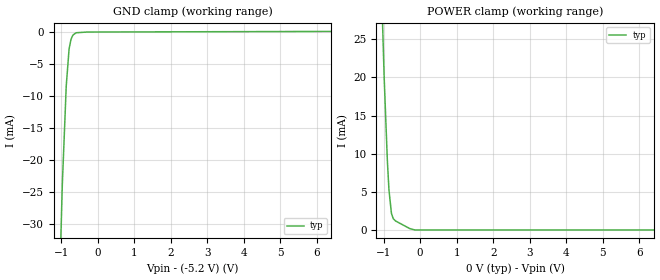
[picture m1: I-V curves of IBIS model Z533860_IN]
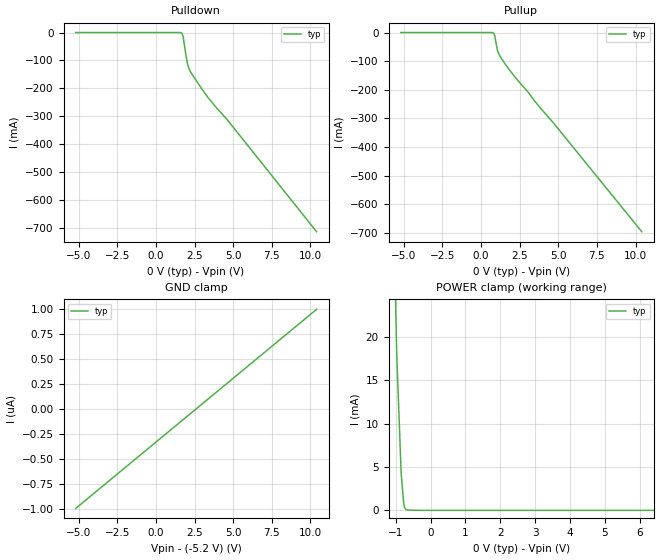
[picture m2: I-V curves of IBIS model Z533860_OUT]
| YOU ARE ONLY AUTHORIZED TO USE THIS SOFTWARE
| ACCORDING TO LICENSOR'S LICENSE RESTRICTIONS.
[IBIS Ver] 3.1
[File Name] mc100el05d_pecl.ibs
[File Rev] 2.0
[Source] Measured and created by ICX Technology
[Date] Friday 7/14/00 9:07:47 AM
[Copyright]
| (C) COPYRIGHT 1993-2000
| MENTOR GRAPHICS CORPORATION
| ICX STANDARD LIBRARY, ICX PROJECT MODELING,
| ICX CUSTOM MODELING, ICX VENDOR MODEL
| ALL RIGHTS RESERVED.
| THE FOLLOWING ARE TRADEMARKS OR SERVICE MARKS OF
| MENTOR GRAPHICS CORPORATION:ICX (R), ICX STANDARD
| LIBRARY(R), ICX PROJECT MODELING(R), ICX CUSTOM
| MODELING(R), qualityIBIS(TM), MODELVIEWER(TM),
| AND MODELEDITOR(TM)
| ALL COPIES OF SOFTWARE, INCLUDING BUT NOT LIMITED TO
| ANY MODIFICATIONS, ENHANCEMENTS OR DERIVATIVE WORKS,
| MUST CONTAIN ALL MENTOR GRAPHICS CORPORATION'S
| NOTICES AND LEGENDS, INCLUDING THOSE EMBEDDED IN
| SOFTWARE AND THOSE AFFIXED TO SOFTWARE MEDIUM
| AND CONTAINER, AS RECEIVED FROM MENTOR GRAPHICS
| CORPORATION.
|  ZAP Model Builder 2.7
[Component] MC100EL05D_PECL
[Manufacturer] OnSemiconductor
[Package]
| variable   typ   min   max
R_pkg  .152ohms NA NA
L_pkg  2.714nH NA NA
C_pkg  .364pF NA NA
[Pin] signal_name  model_name  R_pin  L_pin C_pin
1 DO Z533860_IN .154 2.924n .374p
2 _DO Z533860_IN .15 2.504n .354p
3 D1 Z533860_IN .15 2.504n .354p
4 _D1 Z533860_IN .154 2.924n .374p
5 VEE POWER .154 2.924n .374p
6 _Q Z533860_OUT .15 2.504n .354p
7 Q Z533860_OUT .15 2.504n .354p
8 VCC POWER .154 2.924n .374p
| Models and submodels in the file (2): Z533860_IN (Input_ECL), Z533860_OUT (Output_ECL)
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| (C) COPYRIGHT 1993-2000
| MENTOR GRAPHICS CORPORATION
| ICX STANDARD LIBRARY, ICX PROJECT MODELING,
| ICX CUSTOM MODELING, ICX VENDOR MODEL
| ALL RIGHTS RESERVED.
| THE FOLLOWING ARE TRADEMARKS OR SERVICE MARKS OF
| MENTOR GRAPHICS CORPORATION:ICX (R), ICX STANDARD
| LIBRARY(R), ICX PROJECT MODELING(R), ICX CUSTOM
| MODELING(R), qualityIBIS(TM), MODELVIEWER(TM),
| AND MODELEDITOR(TM)
| ALL COPIES OF SOFTWARE, INCLUDING BUT NOT LIMITED TO
| ANY MODIFICATIONS, ENHANCEMENTS OR DERIVATIVE WORKS,
| MUST CONTAIN ALL MENTOR GRAPHICS CORPORATION'S
| NOTICES AND LEGENDS, INCLUDING THOSE EMBEDDED IN
| SOFTWARE AND THOSE AFFIXED TO SOFTWARE MEDIUM
| AND CONTAINER, AS RECEIVED FROM MENTOR GRAPHICS
| CORPORATION.
| Model Application Version 1.89 2/18/99.
[Model] Z533860_IN
Model_type Input_ECL
Vinl = -1.475V
Vinh = -1.165V
C_comp 8.000pF NA NA
| variable typ   min   max
[Voltage Range] -5.200V NA NA
[GND Clamp Reference] -5.200V NA NA
[POWER Clamp Reference] 0.000V NA NA
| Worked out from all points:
|   GND clamp passes 1 mA (typ) near -0.72 V on its own axis
[GND Clamp]
-5.2V     -895.6mA   NA         NA
-967mV    -23.77mA   NA         NA
-860mV    -8.449mA   NA         NA
-782mV    -2.671mA   NA         NA
-733mV    -1.251mA   NA         NA
-699mV    -730.2uA   NA         NA
-664mV    -439.4uA   NA         NA
-587mV    -132.7uA   NA         NA
-293.5mV  -21.48uA   NA         NA
10.4V     131.2uA    NA         NA
[POWER Clamp]
-5.2V     1.571A     NA         NA
-1.157V   56.16mA    NA         NA
-1.069V   33.54mA    NA         NA
-985.6mV  20.06mA    NA         NA
-897.4mV  9.058mA    NA         NA
-853.7mV  5.242mA    NA         NA
-786.1mV  2.18mA     NA         NA
-734.7mV  1.47mA     NA         NA
-673.9mV  1.179mA    NA         NA
-285.6mV  185.9uA    NA         NA
-142.8mV  0A         NA         NA
10.4V     0A         NA         NA
| (C) COPYRIGHT 1993-2000
| MENTOR GRAPHICS CORPORATION
| ICX STANDARD LIBRARY, ICX PROJECT MODELING,
| ICX CUSTOM MODELING, ICX VENDOR MODEL
| ALL RIGHTS RESERVED.
| THE FOLLOWING ARE TRADEMARKS OR SERVICE MARKS OF
| MENTOR GRAPHICS CORPORATION:ICX (R), ICX STANDARD
| LIBRARY(R), ICX PROJECT MODELING(R), ICX CUSTOM
| MODELING(R), qualityIBIS(TM), MODELVIEWER(TM),
| AND MODELEDITOR(TM)
| ALL COPIES OF SOFTWARE, INCLUDING BUT NOT LIMITED TO
| ANY MODIFICATIONS, ENHANCEMENTS OR DERIVATIVE WORKS,
| MUST CONTAIN ALL MENTOR GRAPHICS CORPORATION'S
| NOTICES AND LEGENDS, INCLUDING THOSE EMBEDDED IN
| SOFTWARE AND THOSE AFFIXED TO SOFTWARE MEDIUM
| AND CONTAINER, AS RECEIVED FROM MENTOR GRAPHICS
| CORPORATION.
| Model Application Version 1.89 2/18/99.
[Model] Z533860_OUT
Model_type Output_ECL
Vref=-2.000V
Rref=50.00ohms
Cref=0.000F
Vmeas=-1.320V
C_comp 8.000pF NA NA
| variable typ   min   max
[Voltage Range] -5.200V NA NA
[POWER Clamp Reference] 0.000V NA NA
[Pullup Reference] 0.000V NA NA
[Pulldown Reference] 0.000V NA NA
[GND Clamp Reference] -5.200V NA NA
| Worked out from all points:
|   POWER clamp passes 1 mA (typ) near -0.77 V on its own axis
[GND Clamp]
-5.2V     -1uA       NA         NA
10.4V     1uA        NA         NA
[Pulldown]
-5.2V     121.1uA    NA         NA
1.523V    121uA      NA         NA
1.68V     -2.374mA   NA         NA
1.768V    -16.27mA   NA         NA
1.952V    -83.46mA   NA         NA
2.055V    -114.1mA   NA         NA
2.124V    -127mA     NA         NA
2.427V    -157.1mA   NA         NA
3.013V    -205.3mA   NA         NA
3.399V    -235mA     NA         NA
4.599V    -311.4mA   NA         NA
10.4V     -714.3mA   NA         NA
[Pullup]
-5.2V     89.97uA    NA         NA
805.5mV   -1.662mA   NA         NA
859.1mV   -6.41mA    NA         NA
891.5mV   -12.65mA   NA         NA
1.055V    -61.87mA   NA         NA
1.11V     -70.11mA   NA         NA
1.435V    -100.1mA   NA         NA
1.821V    -129.1mA   NA         NA
3.037V    -207.4mA   NA         NA
3.477V    -239.5mA   NA         NA
4.638V    -312.4mA   NA         NA
10.4V     -695.1mA   NA         NA
[POWER Clamp]
-5.2V     1.651A     NA         NA
-1.175V   66.79mA    NA         NA
-1.084V   38.86mA    NA         NA
-970.1mV  17.99mA    NA         NA
-843.9mV  4.329mA    NA         NA
-769mV    746.2uA    NA         NA
-749.5mV  378.2uA    NA         NA
-707.8mV  104.9uA    NA         NA
-649.1mV  29.73uA    NA         NA
-324.6mV  0A         NA         NA
10.4V     0A         NA         NA
[Ramp]
| variable typ min max
dV/dt_r 472.9m/471.4p NA NA
dV/dt_f 472.9m/400.2p NA NA
R_load = 50.00Ohms
